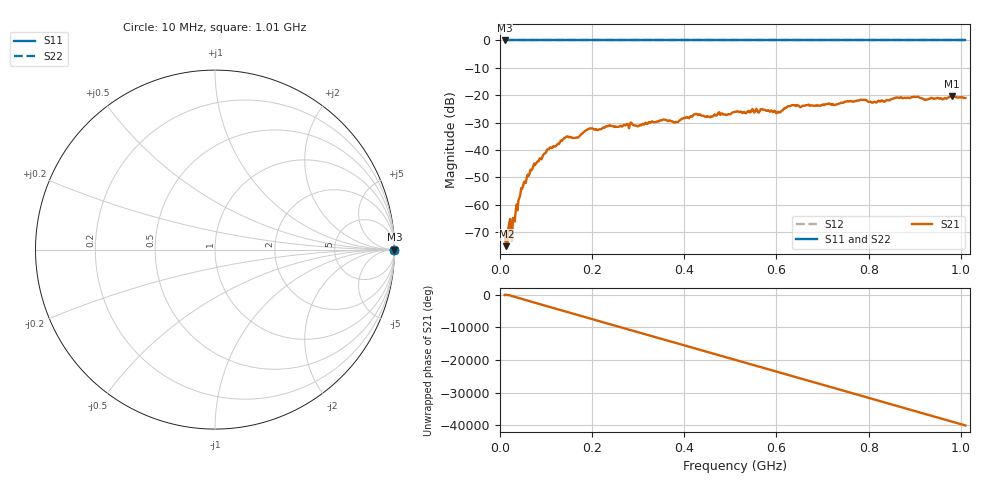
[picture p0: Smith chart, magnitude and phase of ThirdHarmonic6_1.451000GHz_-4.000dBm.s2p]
! 8/16/2025 4:49:16 PM
! C:\ANRITSUVNA\TEMP\TEMP.S2P
! CHANNEL.1
! TR.MEASUREMENT
! RAW.DATA
! RF.CORRECTION.OFF
! AVERAGING.OFF
! IF.BANDWIDTH: 5KHZ
! SWEEPTYPE:  FREQ.SWEEP(Linear)
! Reference Plane Port Info
! PORT:  PORT1  PORT2
! DISTANCE:  0  m  0  m
! TIME:  0  s  0  s
! PHASE.OFFSET:  0  deg.  0  deg.
! LOSS:  0  dB  0  dB
! REF.LOSS:  0  dB  0  dB
! REF.FREQ:  0  Hz  0  Hz
! Power Info
! POWER:  -20  dBm  -20  dBm
! EFF.POWER:  -20  dBm  -20  dBm
! SOURCE.ATTEN:  0  dB  0  dB
! TEST.ATTEN:  0  dB  0  dB
# GHZ S RI R 50.0
! FREQ.GHZ  S11RE  S11IM  S21RE  S21IM  S12RE  S12IM  S22RE  S22IM
!; PortSelection: Port_12
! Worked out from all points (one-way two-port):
!   501 points, 10 MHz to 1.01 GHz, reference 50 ohm
!   highest |S21| = -20.47 dB at 980 MHz (marker M1); lowest = -75.2 dB at 14 MHz (marker M2)
!   lowest |S11| = 0.0 dB at 10 MHz (marker M3)
!   |S11| at or under -10 dB: nowhere
!   |S22| runs from 0.0 to 0.0 dB; largest |S21 - S12| = 1.1
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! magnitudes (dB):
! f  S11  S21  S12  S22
! 10 MHz  0.0  -70.1  0.0  0.0
! 14 MHz  0.0  -75.2  0.0  0.0
! 20 MHz  0.0  -66.8  0.0  0.0
! 28 MHz  0.0  -64.9  0.0  0.0
! 32 MHz  0.0  -66.2  0.0  0.0
! 50 MHz  0.0  -53.2  0.0  0.0
! 70 MHz  0.0  -47.1  0.0  0.0
! 106 MHz  0.0  -39.7  0.0  0.0
! 144 MHz  0.0  -35.2  0.0  0.0
! 178 MHz  0.0  -34.1  0.0  0.0
! 196 MHz  0.0  -32.1  0.0  0.0
! 344 MHz  0.0  -29.7  0.0  0.0
! 382 MHz  0.0  -29.7  0.0  0.0
! 424 MHz  0.0  -26.9  0.0  0.0
! 458 MHz  0.0  -27.7  0.0  0.0
! 510 MHz  0.0  -26.1  0.0  0.0
! 604 MHz  0.0  -26.1  0.0  0.0
! 634 MHz  0.0  -23.7  0.0  0.0
! 678 MHz  0.0  -23.8  0.0  0.0
! 844 MHz  0.0  -21.9  0.0  0.0
! 980 MHz  0.0  -20.5  0.0  0.0
! 1.01 GHz  0.0  -21.0  0.0  0.0
